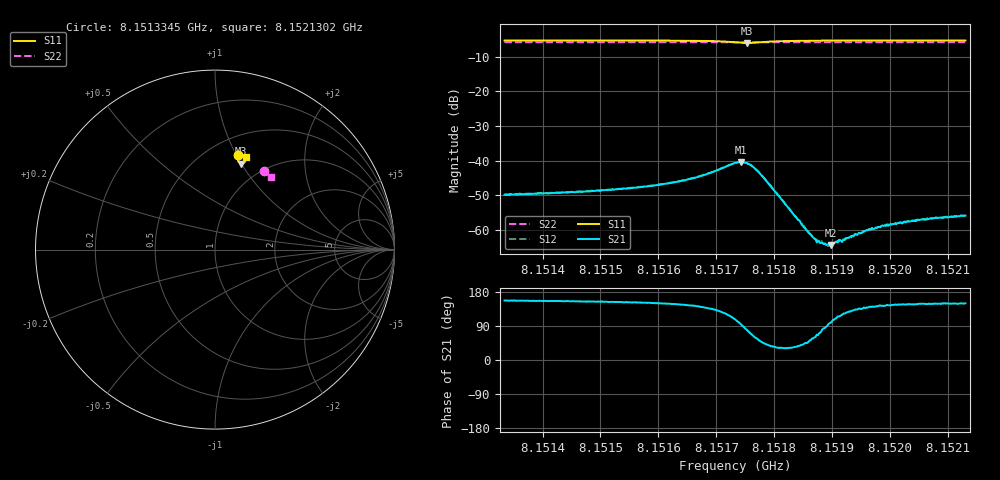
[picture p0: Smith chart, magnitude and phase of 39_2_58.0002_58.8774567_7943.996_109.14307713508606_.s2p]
#  HZ  S  RI  R  50.00
! Rohde & Schwarz Vector Network Analyzer
! Rohde-Schwarz,ZNB20-2Port,1311601062101988,3.16
! Created: UTC 3/21/2024, 12:52:00 AM
! freq[Hz]  re:S11  im:S11  re:S21  im:S21  re:S12  im:S12  re:S22  im:S22
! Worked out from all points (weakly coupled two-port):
!   401 points, 8.1513345 GHz to 8.1521302 GHz, reference 50 ohm
!   highest |S21| = -40.45 dB at 8.1517423 GHz (marker M1); lowest = -64.4 dB at 8.1518975 GHz (marker M2)
!   lowest |S11| = -6.0 dB at 8.1517522 GHz (marker M3), VSWR 3.00, Z = 39 + j49.8 ohm
!   |S11| at or under -10 dB: nowhere
!   |S22| runs from -5.8 to -5.8 dB; largest |S21 - S12| = 0.0002
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8.15133449e9  0.1297 0.528  -0.00295 0.00126  -0.00295 0.00132  0.2723 0.436
8.15146777e9  0.1406 0.5251  -0.0032 0.00152  -0.00319 0.00158  0.2793 0.4312
8.15154734e9  0.1478 0.5228  -0.00351 0.00184  -0.00349 0.00192  0.2837 0.4282
8.15160105e9  0.1536 0.5202  -0.00387 0.00226  -0.00385 0.00233  0.2866 0.4261
8.15163487e9  0.1579 0.5177  -0.00416 0.00272  -0.00416 0.00281  0.2886 0.4248
8.15166471e9  0.1624 0.5139  -0.00453 0.00346  -0.00448 0.0036  0.29 0.4235
8.15169256e9  0.1668 0.5073  -0.00479 0.00483  -0.00475 0.00491  0.2915 0.4221
8.15173234e9  0.1636 0.4853  -0.00276 0.00883  -0.00264 0.00884  0.293 0.4201
8.15174229e9  0.1555 0.4796  -0.000733 0.00947  -0.000684 0.00949  0.2932 0.4196
8.15175223e9  0.1444 0.4789  0.00157 0.00911  0.00169 0.00909  0.2933 0.4195
8.15176218e9  0.1345 0.4844  0.00335 0.00748  0.00348 0.00754  0.2935 0.4195
8.1517781e9  0.129 0.4981  0.00412 0.00452  0.00419 0.00452  0.2944 0.4193
8.1518517e9  0.1461 0.5186  0.000791 0.000731  0.000835 0.000751  0.299 0.4172
8.15186562e9  0.1487 0.5193  0.000442 0.000669  0.000439 0.000667  0.2996 0.4166
8.15187756e9  0.1505 0.5194  0.000229 0.000643  0.000219 0.000633  0.3003 0.4161
8.15188949e9  0.1523 0.5195  2.65e-05 0.000602  2.13e-05 0.000602  0.3009 0.4157
8.15189745e9  0.1535 0.5195  -8.64e-05 0.000596  -0.000117 0.000615  0.3014 0.4154
8.15191933e9  0.1562 0.5194  -0.000389 0.000612  -0.00039 0.000596  0.3027 0.4144
8.15195912e9  0.1607 0.5188  -0.000743 0.000652  -0.000707 0.000655  0.3046 0.4129
8.1519989e9  0.1646 0.5181  -0.000953 0.00068  -0.000971 0.000688  0.3067 0.4114
8.15206654e9  0.1705 0.5169  -0.00122 0.00074  -0.00127 0.000813  0.3104 0.4086
8.1521302e9  0.1754 0.5156  -0.00138 0.000813  -0.00138 0.000831  0.3135 0.406
